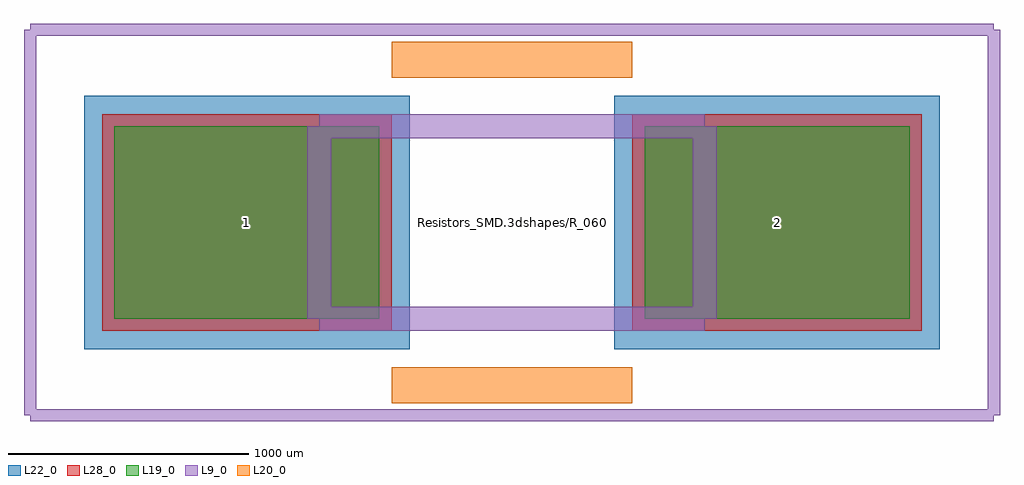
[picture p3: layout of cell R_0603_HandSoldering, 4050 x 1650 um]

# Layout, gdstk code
import gdstk
lib = gdstk.Library(unit=1e-6, precision=1e-09)
def R(c, l, rs):  # rectangles x0, y0, x1, y1
    for r in rs: c.add(gdstk.rectangle(r[:2], r[2:], *l))
L9_0 = (9, 0)
L19_0 = (19, 0)
L20_0 = (20, 0)
L22_0 = (22, 0)
L28_0 = (28, 0)

r_0603_handsoldering = lib.new_cell('R_0603_HandSoldering')
R(r_0603_handsoldering, L19_0, [(-1650,-400,-550,400), (550,-400,1650,400)])
R(r_0603_handsoldering, L22_0, [(-1775,-525,-425,525), (425,-525,1775,525)])
R(r_0603_handsoldering, L28_0, [(-1700,-450,-500,450), (500,-450,1700,450)])
r_0603_handsoldering.add(gdstk.FlexPath([(-500,675),(500,675)], 149.998, ends="flush", simple_path=True, layer=20, datatype=0))  # L20_0
r_0603_handsoldering.add(gdstk.FlexPath([(500,-675),(-500,-675)], 149.998, ends="flush", simple_path=True, layer=20, datatype=0))  # L20_0
r_0603_handsoldering.add(gdstk.FlexPath([(2000,800),(2000,-800)], 50, ends="flush", simple_path=True, layer=9, datatype=0))  # L9_0
r_0603_handsoldering.add(gdstk.FlexPath([(-2000,800),(-2000,-800)], 50, ends="flush", simple_path=True, layer=9, datatype=0))  # L9_0
r_0603_handsoldering.add(gdstk.FlexPath([(-2000,-800),(2000,-800)], 50, ends="flush", simple_path=True, layer=9, datatype=0))  # L9_0
r_0603_handsoldering.add(gdstk.FlexPath([(-2000,800),(2000,800)], 50, ends="flush", simple_path=True, layer=9, datatype=0))  # L9_0
r_0603_handsoldering.add(gdstk.FlexPath([(-800,400),(800,400)], 100, ends="flush", simple_path=True, layer=9, datatype=0))  # L9_0
r_0603_handsoldering.add(gdstk.FlexPath([(800,400),(800,-400)], 100, ends="flush", simple_path=True, layer=9, datatype=0))  # L9_0
r_0603_handsoldering.add(gdstk.FlexPath([(800,-400),(-800,-400)], 100, ends="flush", simple_path=True, layer=9, datatype=0))  # L9_0
r_0603_handsoldering.add(gdstk.FlexPath([(-800,-400),(-800,400)], 100, ends="flush", simple_path=True, layer=9, datatype=0))  # L9_0
r_0603_handsoldering.add(gdstk.Label('Resistors_SMD.3dshapes/R_0603_HandSoldering.wrl', (0,0), layer=12, texttype=0))
r_0603_handsoldering.add(gdstk.Label('2', (1100,0), layer=28, texttype=0))
r_0603_handsoldering.add(gdstk.Label('1', (-1100,0), layer=28, texttype=0))
r_0603_handsoldering.add(gdstk.Label('type', (0,-1900), layer=9, texttype=0))
r_0603_handsoldering.add(gdstk.Label('devicename', (0,1900), layer=9, texttype=0))

lib.write_gds('R_0603_HandSoldering.gds')
